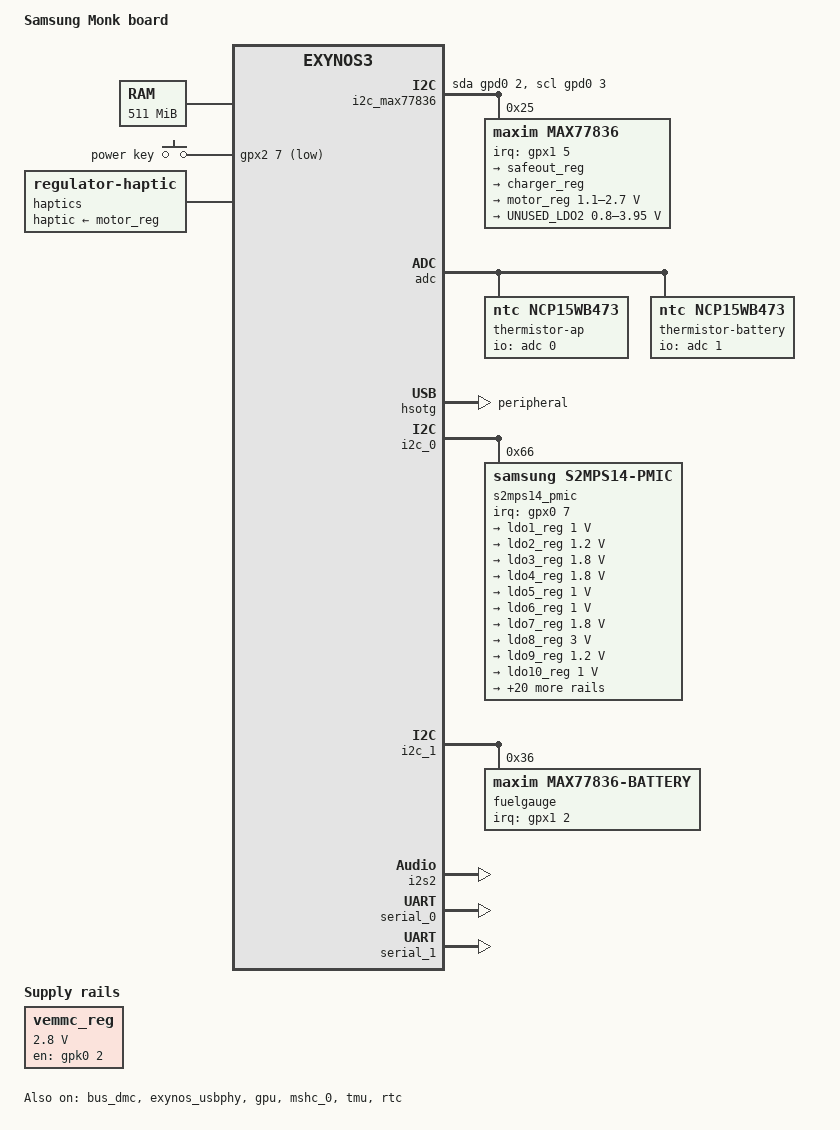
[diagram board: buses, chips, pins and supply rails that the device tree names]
// SPDX-License-Identifier: GPL-2.0
/*
 * Samsung's Exynos3250 based Monk board device tree source
 *
 * Copyright (c) 2014 Samsung Electronics Co., Ltd.
 *		http://www.samsung.com
 *
 * Device tree source file for Samsung's Monk board which is based on
 * Samsung Exynos3250 SoC.
 */

/dts-v1/;
#include "exynos3250.dtsi"
#include "exynos4412-ppmu-common.dtsi"
#include <dt-bindings/input/input.h>
#include <dt-bindings/gpio/gpio.h>
#include <dt-bindings/clock/samsung,s2mps11.h>

/ {
	model = "Samsung Monk board";
	compatible = "samsung,monk", "samsung,exynos3250", "samsung,exynos3";

	aliases {
		i2c7 = &i2c_max77836;
	};

	memory@40000000 {
		device_type = "memory";
		reg = <0x40000000 0x1ff00000>;
	};

	firmware@205f000 {
		compatible = "samsung,secure-firmware";
		reg = <0x0205F000 0x1000>;
	};

	gpio_keys {
		compatible = "gpio-keys";

		power_key {
			gpios = <&gpx2 7 GPIO_ACTIVE_LOW>;
			linux,code = <KEY_POWER>;
			label = "power key";
			debounce-interval = <10>;
			wakeup-source;
		};
	};

	vemmc_reg: voltage-regulator-0 {
		compatible = "regulator-fixed";
		regulator-name = "V_EMMC_2.8V-fixed";
		regulator-min-microvolt = <2800000>;
		regulator-max-microvolt = <2800000>;
		gpio = <&gpk0 2 GPIO_ACTIVE_HIGH>;
		enable-active-high;
	};

	i2c_max77836: i2c-gpio-0 {
		compatible = "i2c-gpio";
		sda-gpios = <&gpd0 2 (GPIO_ACTIVE_HIGH | GPIO_OPEN_DRAIN)>;
		scl-gpios = <&gpd0 3 (GPIO_ACTIVE_HIGH | GPIO_OPEN_DRAIN)>;
		#address-cells = <1>;
		#size-cells = <0>;

		max77836: subpmic@25 {
			compatible = "maxim,max77836";
			interrupt-parent = <&gpx1>;
			interrupts = <5 IRQ_TYPE_NONE>;
			reg = <0x25>;
			wakeup-source;

			muic: max77836-muic {
				compatible = "maxim,max77836-muic";
			};

			regulators {
				compatible = "maxim,max77836-regulator";
				safeout_reg: SAFEOUT {
					regulator-name = "SAFEOUT";
				};

				charger_reg: CHARGER {
					regulator-name = "CHARGER";
					regulator-min-microamp = <45000>;
					regulator-max-microamp = <475000>;
					regulator-boot-on;
				};

				motor_reg: LDO1 {
					regulator-name = "MOT_2.7V";
					regulator-min-microvolt = <1100000>;
					regulator-max-microvolt = <2700000>;
				};

				LDO2 {
					regulator-name = "UNUSED_LDO2";
					regulator-min-microvolt = <800000>;
					regulator-max-microvolt = <3950000>;
				};
			};

			charger {
				compatible = "maxim,max77836-charger";

				maxim,constant-uvolt = <4350000>;
				maxim,fast-charge-uamp = <225000>;
				maxim,eoc-uamp = <7500>;
				maxim,ovp-uvolt = <6500000>;
			};
		};
	};

	haptics {
		compatible = "regulator-haptic";
		haptic-supply = <&motor_reg>;
		min-microvolt = <1100000>;
		max-microvolt = <2700000>;
	};

	thermal-zones {
		cpu_thermal: cpu-thermal {
			cooling-maps {
				map0 {
					/* Correspond to 500MHz at freq_table */
					cooling-device = <&cpu0 5 5>,
							 <&cpu1 5 5>;
				};
				map1 {
					/* Correspond to 200MHz at freq_table */
					cooling-device = <&cpu0 8 8>,
							 <&cpu1 8 8>;
				};
			};
		};
	};
};

&adc {
	vdd-supply = <&ldo3_reg>;
	status = "okay";
	assigned-clocks = <&cmu CLK_SCLK_TSADC>;
	assigned-clock-rates = <6000000>;

	thermistor-ap {
		compatible = "ntc,ncp15wb473";
		pullup-uv = <1800000>;
		pullup-ohm = <100000>;
		pulldown-ohm = <100000>;
		io-channels = <&adc 0>;
	};

	thermistor-battery {
		compatible = "ntc,ncp15wb473";
		pullup-uv = <1800000>;
		pullup-ohm = <100000>;
		pulldown-ohm = <100000>;
		io-channels = <&adc 1>;
	};
};

&bus_dmc {
	devfreq-events = <&ppmu_dmc0_3>, <&ppmu_dmc1_3>;
	vdd-supply = <&buck1_reg>;
	status = "okay";
};

&cmu {
	clocks = <&xusbxti>;
};

&cpu0 {
	cpu0-supply = <&buck2_reg>;
};

&exynos_usbphy {
	vbus-supply = <&safeout_reg>;
	status = "okay";
};

&gpu {
	mali-supply = <&buck3_reg>;
	status = "okay";
};

&hsotg {
	vusb_d-supply = <&ldo15_reg>;
	vusb_a-supply = <&ldo12_reg>;
	dr_mode = "peripheral";
	status = "okay";
};

&i2c_0 {
	#address-cells = <1>;
	#size-cells = <0>;
	samsung,i2c-sda-delay = <100>;
	samsung,i2c-slave-addr = <0x10>;
	samsung,i2c-max-bus-freq = <100000>;
	status = "okay";

	s2mps14_pmic@66 {
		compatible = "samsung,s2mps14-pmic";
		interrupt-parent = <&gpx0>;
		interrupts = <7 IRQ_TYPE_LEVEL_LOW>;
		reg = <0x66>;
		wakeup-source;

		s2mps14_osc: clocks {
			compatible = "samsung,s2mps14-clk";
			#clock-cells = <1>;
			clock-output-names = "s2mps14_ap", "unused",
				"s2mps14_bt";
		};

		regulators {
			ldo1_reg: LDO1 {
				regulator-name = "VAP_ALIVE_1.0V";
				regulator-min-microvolt = <1000000>;
				regulator-max-microvolt = <1000000>;
				regulator-always-on;
			};

			ldo2_reg: LDO2 {
				regulator-name = "VAP_M1_1.2V";
				regulator-min-microvolt = <1200000>;
				regulator-max-microvolt = <1200000>;
				regulator-always-on;
			};

			ldo3_reg: LDO3 {
				regulator-name = "VCC_AP_1.8V";
				regulator-min-microvolt = <1800000>;
				regulator-max-microvolt = <1800000>;
				regulator-always-on;
			};

			ldo4_reg: LDO4 {
				regulator-name = "VAP_AVDD_PLL1";
				regulator-min-microvolt = <1800000>;
				regulator-max-microvolt = <1800000>;
				regulator-always-on;
			};

			ldo5_reg: LDO5 {
				regulator-name = "VAP_PLL_ISO_1.0V";
				regulator-min-microvolt = <1000000>;
				regulator-max-microvolt = <1000000>;
				regulator-always-on;
			};

			ldo6_reg: LDO6 {
				regulator-name = "VAP_MIPI_1.0V";
				regulator-min-microvolt = <1000000>;
				regulator-max-microvolt = <1000000>;
			};

			ldo7_reg: LDO7 {
				regulator-name = "VAP_AVDD_1.8V";
				regulator-min-microvolt = <1800000>;
				regulator-max-microvolt = <1800000>;
				regulator-always-on;
			};

			ldo8_reg: LDO8 {
				regulator-name = "VAP_USB_3.0V";
				regulator-min-microvolt = <3000000>;
				regulator-max-microvolt = <3000000>;
				regulator-always-on;
			};

			ldo9_reg: LDO9 {
				regulator-name = "V_LPDDR_1.2V";
				regulator-min-microvolt = <1200000>;
				regulator-max-microvolt = <1200000>;
				regulator-always-on;
			};

			ldo10_reg: LDO10 {
				regulator-name = "UNUSED_LDO10";
				regulator-min-microvolt = <1000000>;
				regulator-max-microvolt = <1000000>;
			};

			ldo11_reg: LDO11 {
				regulator-name = "V_EMMC_1.8V";
				regulator-min-microvolt = <1800000>;
				regulator-max-microvolt = <1800000>;
				samsung,ext-control-gpios = <&gpk0 2 GPIO_ACTIVE_HIGH>;
			};

			ldo12_reg: LDO12 {
				regulator-name = "V_EMMC_2.8V";
				regulator-min-microvolt = <2800000>;
				regulator-max-microvolt = <2800000>;
				samsung,ext-control-gpios = <&gpk0 2 GPIO_ACTIVE_HIGH>;
			};

			ldo13_reg: LDO13 {
				regulator-name = "VSENSOR_2.85V";
				regulator-min-microvolt = <2850000>;
				regulator-max-microvolt = <2850000>;
				regulator-always-on;
			};

			ldo14_reg: LDO14 {
				regulator-name = "UNUSED_LDO14";
				regulator-min-microvolt = <1800000>;
				regulator-max-microvolt = <1800000>;
			};

			ldo15_reg: LDO15 {
				regulator-name = "TSP_AVDD_3.3V";
				regulator-min-microvolt = <3300000>;
				regulator-max-microvolt = <3300000>;
			};

			ldo16_reg: LDO16 {
				regulator-name = "LCD_VDD_3.3V";
				regulator-min-microvolt = <3300000>;
				regulator-max-microvolt = <3300000>;
			};

			ldo17_reg: LDO17 {
				regulator-name = "UNUSED_LDO17";
				regulator-min-microvolt = <1800000>;
				regulator-max-microvolt = <1800000>;
			};

			ldo18_reg: LDO18 {
				regulator-name = "UNUSED_LDO18";
				regulator-min-microvolt = <1800000>;
				regulator-max-microvolt = <1800000>;
			};

			ldo19_reg: LDO19 {
				regulator-name = "TSP_VDD_1.8V";
				regulator-min-microvolt = <1800000>;
				regulator-max-microvolt = <1800000>;
			};

			ldo20_reg: LDO20 {
				regulator-name = "LCD_VDD_1.8V";
				regulator-min-microvolt = <1800000>;
				regulator-max-microvolt = <1800000>;
			};

			ldo21_reg: LDO21 {
				regulator-name = "UNUSED_LDO21";
				regulator-min-microvolt = <1000000>;
				regulator-max-microvolt = <1000000>;
			};

			ldo22_reg: LDO22 {
				regulator-name = "UNUSED_LDO22";
				regulator-min-microvolt = <1000000>;
				regulator-max-microvolt = <1000000>;
			};

			ldo23_reg: LDO23 {
				regulator-name = "UNUSED_LDO23";
				regulator-min-microvolt = <1000000>;
				regulator-max-microvolt = <1000000>;
				regulator-always-on;
			};

			ldo24_reg: LDO24 {
				regulator-name = "UNUSED_LDO24";
				regulator-min-microvolt = <1800000>;
				regulator-max-microvolt = <1800000>;
			};

			ldo25_reg: LDO25 {
				regulator-name = "UNUSED_LDO25";
				regulator-min-microvolt = <1800000>;
				regulator-max-microvolt = <1800000>;
			};

			buck1_reg: BUCK1 {
				regulator-name = "VAP_MIF_1.0V";
				regulator-min-microvolt = <800000>;
				regulator-max-microvolt = <900000>;
				regulator-always-on;
			};

			buck2_reg: BUCK2 {
				regulator-name = "VAP_ARM_1.0V";
				regulator-min-microvolt = <850000>;
				regulator-max-microvolt = <1150000>;
				regulator-always-on;
			};

			buck3_reg: BUCK3 {
				regulator-name = "VAP_INT3D_1.0V";
				regulator-min-microvolt = <850000>;
				regulator-max-microvolt = <1000000>;
				regulator-always-on;
			};

			buck4_reg: BUCK4 {
				regulator-name = "VCC_SUB_1.95V";
				regulator-min-microvolt = <1950000>;
				regulator-max-microvolt = <1950000>;
				regulator-always-on;
			};

			buck5_reg: BUCK5 {
				regulator-name = "VCC_SUB_1.35V";
				regulator-min-microvolt = <1350000>;
				regulator-max-microvolt = <1350000>;
				regulator-always-on;
			};
		};
	};
};

&i2c_1 {
	#address-cells = <1>;
	#size-cells = <0>;
	samsung,i2c-sda-delay = <100>;
	samsung,i2c-slave-addr = <0x10>;
	samsung,i2c-max-bus-freq = <400000>;
	status = "okay";

	fuelgauge@36 {
		compatible = "maxim,max77836-battery";
		interrupt-parent = <&gpx1>;
		interrupts = <2 IRQ_TYPE_LEVEL_LOW>;
		reg = <0x36>;
	};
};

&i2s2 {
	status = "okay";
};

&mshc_0 {
	#address-cells = <1>;
	#size-cells = <0>;
	broken-cd;
	non-removable;
	cap-mmc-highspeed;
	desc-num = <4>;
	mmc-hs200-1_8v;
	card-detect-delay = <200>;
	vmmc-supply = <&vemmc_reg>;
	clock-frequency = <100000000>;
	max-frequency = <100000000>;
	samsung,dw-mshc-ciu-div = <1>;
	samsung,dw-mshc-sdr-timing = <0 1>;
	samsung,dw-mshc-ddr-timing = <1 2>;
	pinctrl-names = "default";
	pinctrl-0 = <&sd0_cmd &sd0_bus1 &sd0_bus4 &sd0_bus8>;
	bus-width = <8>;
	status = "okay";
};

&serial_0 {
	assigned-clocks = <&cmu CLK_SCLK_UART0>;
	assigned-clock-rates = <100000000>;
	status = "okay";
};

&serial_1 {
	status = "okay";
};

&tmu {
	vtmu-supply = <&ldo7_reg>;
	status = "okay";
};

&rtc {
	clocks = <&cmu CLK_RTC>, <&s2mps14_osc S2MPS11_CLK_AP>;
	clock-names = "rtc", "rtc_src";
	status = "okay";
};

&xusbxti {
	clock-frequency = <24000000>;
};

&pinctrl_0 {
	pinctrl-names = "default";
	pinctrl-0 = <&sleep0>;

	sleep0: sleep-state {
		PIN_SLP(gpa0-0, INPUT, DOWN);
		PIN_SLP(gpa0-1, INPUT, DOWN);
		PIN_SLP(gpa0-2, INPUT, DOWN);
		PIN_SLP(gpa0-3, INPUT, DOWN);
		PIN_SLP(gpa0-4, INPUT, DOWN);
		PIN_SLP(gpa0-5, INPUT, DOWN);
		PIN_SLP(gpa0-6, INPUT, DOWN);
		PIN_SLP(gpa0-7, INPUT, DOWN);

		PIN_SLP(gpa1-0, INPUT, DOWN);
		PIN_SLP(gpa1-1, INPUT, DOWN);
		PIN_SLP(gpa1-2, INPUT, DOWN);
		PIN_SLP(gpa1-3, INPUT, DOWN);
		PIN_SLP(gpa1-4, INPUT, DOWN);
		PIN_SLP(gpa1-5, INPUT, DOWN);

		PIN_SLP(gpb-0, PREV, NONE);
		PIN_SLP(gpb-1, PREV, NONE);
		PIN_SLP(gpb-2, PREV, NONE);
		PIN_SLP(gpb-3, PREV, NONE);
		PIN_SLP(gpb-4, INPUT, DOWN);
		PIN_SLP(gpb-5, INPUT, DOWN);
		PIN_SLP(gpb-6, INPUT, DOWN);
		PIN_SLP(gpb-7, INPUT, DOWN);

		PIN_SLP(gpc0-0, INPUT, DOWN);
		PIN_SLP(gpc0-1, INPUT, DOWN);
		PIN_SLP(gpc0-2, INPUT, DOWN);
		PIN_SLP(gpc0-3, INPUT, DOWN);
		PIN_SLP(gpc0-4, INPUT, DOWN);

		PIN_SLP(gpc1-0, INPUT, DOWN);
		PIN_SLP(gpc1-1, INPUT, DOWN);
		PIN_SLP(gpc1-2, INPUT, DOWN);
		PIN_SLP(gpc1-3, INPUT, DOWN);
		PIN_SLP(gpc1-4, INPUT, DOWN);

		PIN_SLP(gpd0-0, INPUT, DOWN);
		PIN_SLP(gpd0-1, INPUT, DOWN);
		PIN_SLP(gpd0-2, INPUT, NONE);
		PIN_SLP(gpd0-3, INPUT, NONE);

		PIN_SLP(gpd1-0, INPUT, NONE);
		PIN_SLP(gpd1-1, INPUT, NONE);
		PIN_SLP(gpd1-2, INPUT, NONE);
		PIN_SLP(gpd1-3, INPUT, NONE);
	};
};

&pinctrl_1 {
	pinctrl-names = "default";
	pinctrl-0 = <&initial1 &sleep1>;

	initial1: initial-state {
		PIN_IN(gpk2-0, DOWN, LV1);
		PIN_IN(gpk2-1, DOWN, LV1);
		PIN_IN(gpk2-2, DOWN, LV1);
		PIN_IN(gpk2-3, DOWN, LV1);
		PIN_IN(gpk2-4, DOWN, LV1);
		PIN_IN(gpk2-5, DOWN, LV1);
		PIN_IN(gpk2-6, DOWN, LV1);
	};

	sleep1: sleep-state {
		PIN_SLP(gpe0-0, PREV, NONE);
		PIN_SLP(gpe0-1, PREV, NONE);
		PIN_SLP(gpe0-2, INPUT, DOWN);
		PIN_SLP(gpe0-3, INPUT, DOWN);
		PIN_SLP(gpe0-4, PREV, NONE);
		PIN_SLP(gpe0-5, INPUT, DOWN);
		PIN_SLP(gpe0-6, INPUT, DOWN);
		PIN_SLP(gpe0-7, INPUT, DOWN);

		PIN_SLP(gpe1-0, INPUT, DOWN);
		PIN_SLP(gpe1-1, PREV, NONE);
		PIN_SLP(gpe1-2, INPUT, DOWN);
		PIN_SLP(gpe1-3, INPUT, DOWN);
		PIN_SLP(gpe1-4, INPUT, DOWN);
		PIN_SLP(gpe1-5, INPUT, DOWN);
		PIN_SLP(gpe1-6, INPUT, DOWN);
		PIN_SLP(gpe1-7, INPUT, NONE);

		PIN_SLP(gpe2-0, INPUT, NONE);
		PIN_SLP(gpe2-1, INPUT, NONE);
		PIN_SLP(gpe2-2, INPUT, NONE);

		PIN_SLP(gpk0-0, INPUT, DOWN);
		PIN_SLP(gpk0-1, INPUT, DOWN);
		PIN_SLP(gpk0-2, OUT0, NONE);
		PIN_SLP(gpk0-3, INPUT, DOWN);
		PIN_SLP(gpk0-4, INPUT, DOWN);
		PIN_SLP(gpk0-5, INPUT, DOWN);
		PIN_SLP(gpk0-6, INPUT, DOWN);
		PIN_SLP(gpk0-7, INPUT, DOWN);

		PIN_SLP(gpk1-0, PREV, NONE);
		PIN_SLP(gpk1-1, PREV, NONE);
		PIN_SLP(gpk1-2, INPUT, DOWN);
		PIN_SLP(gpk1-3, PREV, NONE);
		PIN_SLP(gpk1-4, PREV, NONE);
		PIN_SLP(gpk1-5, PREV, NONE);
		PIN_SLP(gpk1-6, PREV, NONE);

		PIN_SLP(gpk2-0, INPUT, DOWN);
		PIN_SLP(gpk2-1, INPUT, DOWN);
		PIN_SLP(gpk2-2, INPUT, DOWN);
		PIN_SLP(gpk2-3, INPUT, DOWN);
		PIN_SLP(gpk2-4, INPUT, DOWN);
		PIN_SLP(gpk2-5, INPUT, DOWN);
		PIN_SLP(gpk2-6, INPUT, DOWN);

		PIN_SLP(gpl0-0, INPUT, DOWN);
		PIN_SLP(gpl0-1, INPUT, DOWN);
		PIN_SLP(gpl0-2, INPUT, DOWN);
		PIN_SLP(gpl0-3, INPUT, DOWN);

		PIN_SLP(gpm0-0, INPUT, DOWN);
		PIN_SLP(gpm0-1, INPUT, DOWN);
		PIN_SLP(gpm0-2, INPUT, DOWN);
		PIN_SLP(gpm0-3, INPUT, DOWN);
		PIN_SLP(gpm0-4, INPUT, DOWN);
		PIN_SLP(gpm0-5, INPUT, DOWN);
		PIN_SLP(gpm0-6, INPUT, DOWN);
		PIN_SLP(gpm0-7, INPUT, DOWN);

		PIN_SLP(gpm1-0, INPUT, DOWN);
		PIN_SLP(gpm1-1, INPUT, DOWN);
		PIN_SLP(gpm1-2, INPUT, DOWN);
		PIN_SLP(gpm1-3, INPUT, DOWN);
		PIN_SLP(gpm1-4, INPUT, DOWN);
		PIN_SLP(gpm1-5, INPUT, DOWN);
		PIN_SLP(gpm1-6, INPUT, DOWN);

		PIN_SLP(gpm2-0, INPUT, DOWN);
		PIN_SLP(gpm2-1, INPUT, DOWN);
		PIN_SLP(gpm2-2, INPUT, DOWN);
		PIN_SLP(gpm2-3, INPUT, DOWN);
		PIN_SLP(gpm2-4, INPUT, DOWN);

		PIN_SLP(gpm3-0, INPUT, DOWN);
		PIN_SLP(gpm3-1, INPUT, DOWN);
		PIN_SLP(gpm3-2, INPUT, DOWN);
		PIN_SLP(gpm3-3, INPUT, DOWN);
		PIN_SLP(gpm3-4, INPUT, DOWN);
		PIN_SLP(gpm3-5, INPUT, DOWN);
		PIN_SLP(gpm3-6, INPUT, DOWN);
		PIN_SLP(gpm3-7, INPUT, DOWN);

		PIN_SLP(gpm4-0, INPUT, DOWN);
		PIN_SLP(gpm4-1, INPUT, DOWN);
		PIN_SLP(gpm4-2, INPUT, DOWN);
		PIN_SLP(gpm4-3, INPUT, DOWN);
		PIN_SLP(gpm4-4, INPUT, DOWN);
		PIN_SLP(gpm4-5, INPUT, DOWN);
		PIN_SLP(gpm4-6, INPUT, DOWN);
		PIN_SLP(gpm4-7, INPUT, DOWN);
	};
};
